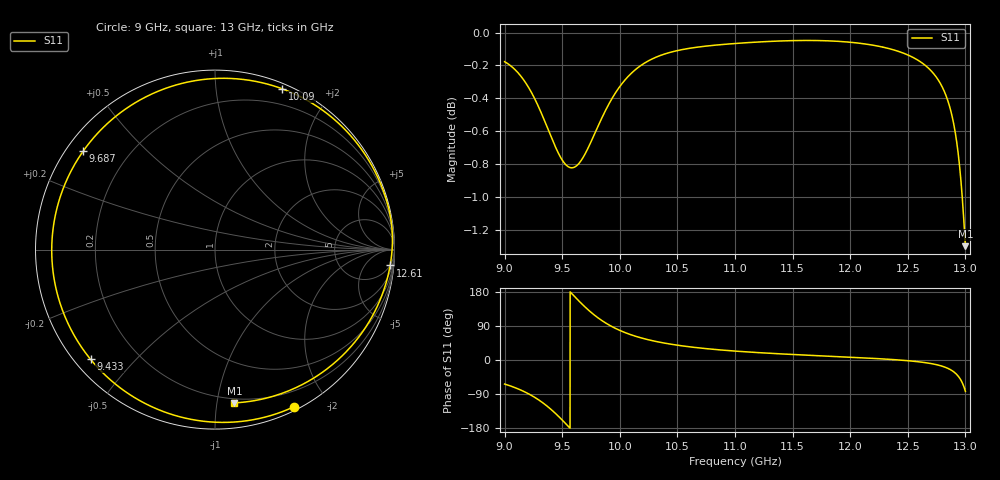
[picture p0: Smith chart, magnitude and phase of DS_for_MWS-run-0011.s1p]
! TOUCHSTONE file generated by CST DESIGN STUDIO
! Date and time: Tue Feb  4 17:44:00 2025
! Project name: C:\Work\MatlabApps\UnitCellOptimizationMatlab\CST\unitcell.cst
! Tree item: Tasks\Sweep1\SPara1\S-Parameters
! Header version: 2024
! Port assignment regex: !\s*Touchstone port\s*([0-9]+)\s*=\s*(CST MWS port|CST DES external port|CST DES block port)\s*(.+)\s* \(\"(.*)\"\)(\s*mode\s*([0-9]+))?.*
! Touchstone port assignment:
! Touchstone port 1 = CST DES external port 1 ("")
# GHz S MA R 50
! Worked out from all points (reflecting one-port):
!   4001 points, 9 GHz to 13 GHz, reference 50 ohm
!   lowest |S11| = -1.3 dB at 13 GHz (marker M1), VSWR 13.38, Z = 8.49 - j56 ohm
!   phase of S11 starts at -63 deg and turns -379 deg over the sweep
!   S11 on the Smith chart (normalised r, x): 9 GHz: 0.04, -1.62; 9.433 GHz: 0.04, -0.38; 9.687 GHz: 0.05, +0.33; 10.09 GHz: 0.05, +1.50; 12.61 GHz: 5, -21; 13 GHz: 0.17, -1.12
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9  0.9798 -63.4
9.13  0.9709 -77.9
9.262  0.9545 -98.7
9.351  0.9392 -117.4
9.433  0.9243 -138.6
9.5  0.9145 -158.4
9.546  0.9105 -172.9
9.591  0.9096 172.7
9.637  0.9116 158.2
9.687  0.9169 143.2
9.755  0.9271 124.6
9.825  0.9388 108.1
9.904  0.9509 92.8
10  0.9628 78.1
10.091  0.9711 67.2
10.272  0.9813 51.7
10.5  0.9874 39.1
11  0.9923 23.6
11.5  0.9943 14.5
12  0.9932 7.3
12.5  0.9844 -1.8
12.607  0.9798 -5.2
12.777  0.9657 -14.4
12.89  0.9411 -29.2
12.923  0.927 -37.6
12.949  0.911 -47.3
12.967  0.8964 -56.5
13  0.8609 -82.8
